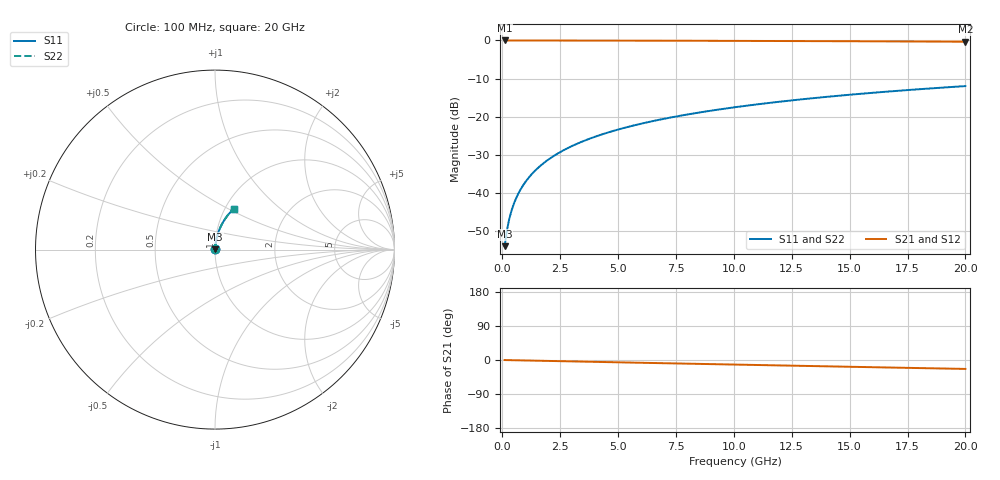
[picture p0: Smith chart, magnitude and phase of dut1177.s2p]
! Touchstone file exported from HFSS 2026.1.0
!  File:  C:/ffzhzh/LocalFiles/Ansys_Project_Files/temp_train_TMRDL_1177_1783162572_18472.aedt
!  Generated:  06:57:26 PM Jul  4, 2026
!  Design:  TMRDL
!  Project:  temp_train_TMRDL_1177_1783162572_18472
! Variables:
!  h_bsmrdl = 2um
!  h_ox = 20um
!  h_rdl = 5um
!  h_sub = 80um
!  h_tmrdl = 4.23um
!  h_tsv = 80um
!  h_via = 3um
!  l_bsmrdl = 300um
!  l_sub = 693.65um
!  l_tmrdl = 293.65um
!  m_sub = 200um
!  pitch = 51.75um
!  r_tsv = 6um
!  s_tmrdl = 10um
!  w_bsmrdl = 18um
!  w_sub = 500um
!  w_tmrdl = 19.97um
!  x_tsv_center1 = 303.635um
!  x_tsv_center2 = 621.635um
!  x_tsv_center3 = 935.255um
!  x_tsv_center4 = 1253.255um
!  x_tsv_center5 = 1566.875um
!  x_tsv_center6 = 1884.875um
# GHz S MA R 50.000000
! Terminal data exported
! Port[1] = TM_RDL1_1_T1
! Port[2] = TM_RDL1_1_T2
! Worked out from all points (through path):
!   200 points, 100 MHz to 20 GHz, reference 50 ohm
!   highest |S21| = -0.01 dB at 100 MHz (marker M1); lowest = -0.3 dB at 20 GHz (marker M2)
!   group delay of S21, straight-line fit = 3.27 ps
!   lowest |S11| = -53.8 dB at 100 MHz (marker M3), VSWR 1.00, Z = 50.1 + j0.147 ohm
!   |S11| at or under -10 dB: start of sweep to end of sweep
!   |S22| runs from -53.8 to -12.0 dB; largest |S21 - S12| = 2.7e-15
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0.1  0.00203 46.4  0.9986 -0.1  0.9986 -0.1  0.00203 46.4
! Gamma 0 0 0 0
! Port Impedance 50 0 50 0
0.2  0.003262 63.3  0.9985 -0.3  0.9985 -0.3  0.003262 63.3
0.3  0.004597 70.4  0.9985 -0.4  0.9985 -0.4  0.004596 70.4
0.4  0.005946 74.2  0.9984 -0.5  0.9984 -0.5  0.005944 74.1
0.5  0.007297 76.5  0.9984 -0.6  0.9984 -0.6  0.007295 76.5
0.7  0.01 79.4  0.9983 -0.9  0.9983 -0.9  0.01 79.4
0.8  0.01136 80.3  0.9983 -1.0  0.9983 -1.0  0.01136 80.3
1  0.01408 81.5  0.9982 -1.2  0.9982 -1.2  0.01408 81.5
1.2  0.01681 82.3  0.9981 -1.5  0.9981 -1.5  0.0168 82.3
1.4  0.01954 82.8  0.998 -1.7  0.998 -1.7  0.01953 82.8
1.7  0.02364 83.2  0.9979 -2.1  0.9979 -2.1  0.02363 83.2
2  0.02773 83.4  0.9977 -2.5  0.9977 -2.5  0.02773 83.4
2.7  0.03727 83.3  0.9972 -3.3  0.9972 -3.3  0.03727 83.3
3.5  0.0481 82.8  0.9964 -4.3  0.9964 -4.3  0.0481 82.8
4.2  0.05751 82.2  0.9957 -5.2  0.9957 -5.2  0.05751 82.2
5  0.06818 81.4  0.9947 -6.1  0.9947 -6.1  0.06818 81.4
6.8  0.09187 79.5  0.9922 -8.3  0.9922 -8.3  0.09188 79.5
8.3  0.1113 77.9  0.9898 -10.1  0.9898 -10.1  0.1113 77.9
10.1  0.1342 75.9  0.9865 -12.2  0.9865 -12.2  0.1342 75.9
13.4  0.1752 72.3  0.9793 -16.0  0.9793 -16.0  0.1752 72.3
16.7  0.2147 68.6  0.9709 -19.8  0.9709 -19.8  0.2147 68.6
20  0.2525 65.0  0.9614 -23.5  0.9614 -23.5  0.2525 65.1
